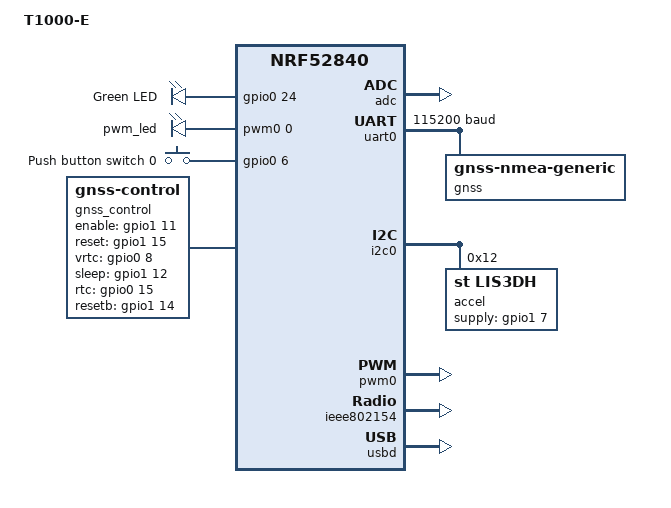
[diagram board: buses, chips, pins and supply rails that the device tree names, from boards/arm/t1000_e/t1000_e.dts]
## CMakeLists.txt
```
# SPDX-License-Identifier: Apache-2.0

cmake_minimum_required(VERSION 3.20.0)
find_package(Zephyr REQUIRED HINTS $ENV{ZEPHYR_BASE})
project(Blinky)


FILE(GLOB app_sources src/*.c)
target_sources(app PRIVATE ${app_sources})
```

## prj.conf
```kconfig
CONFIG_USB_CDC_ACM=y
CONFIG_CDC_ACM_DTE_RATE_CALLBACK_SUPPORT=y

# setup USB
CONFIG_USB_DEVICE_STACK=y
CONFIG_USB_DEVICE_PRODUCT="Blinky"
CONFIG_USB_DEVICE_PID=0x0004
CONFIG_USB_DEVICE_INITIALIZE_AT_BOOT=n


# setup console
CONFIG_SERIAL=y
CONFIG_CONSOLE=y
CONFIG_UART_CONSOLE=y
CONFIG_UART_LINE_CTRL=y

#setup gnss
CONFIG_GNSS=y
CONFIG_GNSS_SATELLITES=y


#logs
CONFIG_LOG=y
# CONFIG_LOG_BUFFER_SIZE=8192
# CONFIG_GNSS_DUMP_TO_LOG=y
# CONFIG_GNSS_DUMP_TO_LOG_BUF_SIZE=1024

# setup accelerometer
CONFIG_I2C=y
```

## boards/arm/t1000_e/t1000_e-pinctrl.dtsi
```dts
/*
 * Copyright (c) 2022 Nordic Semiconductor
 * SPDX-License-Identifier: Apache-2.0
 */

&pinctrl {
	uart0_default: uart0_default {
		group1 {
			psels = <NRF_PSEL(UART_TX, 0, 13)>;
		};
		group2 {
			psels = <NRF_PSEL(UART_RX, 0, 14)>;
			bias-pull-up;
		};
	};

	uart0_sleep: uart0_sleep {
		group1 {
			psels = <NRF_PSEL(UART_TX, 0, 13)>,
				<NRF_PSEL(UART_RX, 0, 14)>;
			low-power-enable;
		};
	};

	i2c0_default: i2c0_default {
		group1 {
			psels = <NRF_PSEL(TWIM_SDA, 0, 26)>,
				<NRF_PSEL(TWIM_SCL, 0, 27)>;
		};
	};

	i2c0_sleep: i2c0_sleep {
		group1 {
			psels = <NRF_PSEL(TWIM_SDA, 0, 26)>,
				<NRF_PSEL(TWIM_SCL, 0, 27)>;
			low-power-enable;
		};
	};


	pwm0_default: pwm0_default {
		group1 {
			psels = <NRF_PSEL(PWM_OUT0, 0, 24)>;
			nordic,invert;
		};
	};

	pwm0_sleep: pwm0_sleep {
		group1 {
			psels = <NRF_PSEL(PWM_OUT0, 0, 24)>;
			low-power-enable;
		};
	};
};
```

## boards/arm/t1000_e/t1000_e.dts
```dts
// Copyright (c) 2024 Nordic Semiconductor ASA
// SPDX-License-Identifier: Apache-2.0

/dts-v1/;
#include <nordic/nrf52840_qiaa.dtsi>
#include "t1000_e-pinctrl.dtsi"
#include <zephyr/dt-bindings/input/input-event-codes.h>

/ {
	model = "T1000-E";
	compatible = "seeed,t1000-e";

	chosen {
		zephyr,console = &cdc_acm_uart;
		zephyr,shell-uart = &cdc_acm_uart;
		zephyr,uart-mcumgr = &cdc_acm_uart;
		zephyr,bt-mon-uart = &cdc_acm_uart;
		zephyr,bt-c2h-uart = &cdc_acm_uart;
		zephyr,sram = &sram0;
		zephyr,flash = &flash0;
		zephyr,code-partition = &slot0_partition;
		zephyr,ieee802154 = &ieee802154;
	};

	leds {
		compatible = "gpio-leds";
		led_green: led {
			gpios = <&gpio0 24 GPIO_ACTIVE_HIGH>;
			label = "Green LED";
		};
	};


	pwmleds {
		compatible = "pwm-leds";
		pwm_led: pwm_led {
			pwms = <&pwm0 0 PWM_MSEC(20) PWM_POLARITY_INVERTED>;
		};
	};

	buttons {
		compatible = "gpio-keys";
		button0: button_0 {
			gpios = <&gpio0 6 (GPIO_ACTIVE_HIGH)>;
			label = "Push button switch 0";
			zephyr,code = <INPUT_KEY_0>;
		};
	};

	gnss_control: gnss_control {
		compatible = "gnss-control";
		status = "okay";
		enable-gpios = <&gpio1 11 GPIO_ACTIVE_HIGH>;
		reset-gpios = <&gpio1 15 GPIO_ACTIVE_HIGH>;
		vrtc-gpios = <&gpio0 8 GPIO_ACTIVE_HIGH>;
		sleep-gpios = <&gpio1 12 GPIO_ACTIVE_HIGH>;
		rtc-gpios = <&gpio0 15 GPIO_ACTIVE_HIGH>;
		resetb-gpios = <&gpio1 14 (GPIO_PULL_UP | GPIO_ACTIVE_HIGH)>;
	};

	aliases {
		sw0 = &button0;
		led0 = &led_green;
		pwm-led0 = &pwm_led;
		watchdog0 = &wdt0;
		gnss = &gnss;
	};
};


&adc {
	status = "okay";
};
	
&gpiote {
	status = "okay";
};
	
&uicr {
	nfct-pins-as-gpios;
	gpio-as-nreset;
};
	
&gpio0 {
	status = "okay";
};
	
&gpio1 {
	status = "okay";
};
	
&uart0 {
	status = "okay";
	current-speed = <115200>;
	pinctrl-0 = <&uart0_default>;
	pinctrl-1 = <&uart0_sleep>;
	pinctrl-names = "default", "sleep";

	gnss: AG3335 {
		compatible = "gnss-nmea-generic";
	};
};
	
&i2c0 {
	compatible = "nordic,nrf-twi";
	status = "okay";
	label = "i2c";
	pinctrl-0 = <&i2c0_default>;
	pinctrl-1 = <&i2c0_sleep>;
	pinctrl-names = "default", "sleep";

	qma6100p: qma6100p@12 {
		compatible = "st,lis3dh", "power";
		supply-gpios = <&gpio1 7 GPIO_ACTIVE_HIGH>;
		label = "accel";
		reg = <0x12>;
	};
};
	
&pwm0 {
	status = "okay";
	pinctrl-0 = <&pwm0_default>;
	pinctrl-1 = <&pwm0_sleep>;
	pinctrl-names = "default", "sleep";
};
	
	
&ieee802154 {
	status = "okay";
};
	
zephyr_udc0: &usbd {
	compatible = "nordic,nrf-usbd";
	status = "okay";
	
	cdc_acm_uart: cdc_acm_uart {
		compatible = "zephyr,cdc-acm-uart";
	};
};


&flash0 {

	partitions {
		compatible = "fixed-partitions";
		#address-cells = <1>;
		#size-cells = <1>;

		sd_partition: partition@0 {
			label = "softdevice";
			reg = <0x00000000 0x00027000>;
		};
		slot0_partition: partition@27000 {
			label = "image-0";
			reg = <0x00027000 0x00068000>;
		};

		/* Storage partition will be used by FCB/NFFS/NVS if enabled. */
		storage_partition: partition@e5000 {
			label = "storage";
			reg = <0x000e5000 0x00008000>;
		};
	};
};
```

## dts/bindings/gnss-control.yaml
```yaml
include: base.yaml

description: GPIO pins that control the gnss module
compatible: "gnss-control"
properties:
  enable-gpios:
    type: phandle-array
    required: true
    description: |
      The GPIO connected to gnss enable.
      
  reset-gpios:
    type: phandle-array
    required: true
    description: |
      The GPIO connected to gnss reset.

  vrtc-gpios:
    type: phandle-array
    required: true
    description: |
      The GPIO connected to gnss vrtc enable.

  sleep-gpios:
    type: phandle-array
    required: true
    description: |
      The GPIO connected to gnss sleep int.

  rtc-gpios:
    type: phandle-array
    required: true
    description: |
      The GPIO connected to gnss rtc int.

  resetb-gpios:
    type: phandle-array
    required: true
    description: |
      The GPIO connected to gnss resetb out.
```

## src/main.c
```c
/*
 * Copyright (c) 2016 Intel Corporation
 *
 * SPDX-License-Identifier: Apache-2.0
 */

#include <stdio.h>
#include <zephyr/logging/log.h>
#include <zephyr/kernel.h>

#include "usb.h"
#include "bootloader.h"
#include "led.h"
#include "gnss.h"
#include "button.h"
#include "accel.h"


/* 1000 msec = 1 sec */
#define SLEEP_TIME_MS   1000

#define LOG_LEVEL LOG_LEVEL_DBG
LOG_MODULE_REGISTER(main);

int main(void)
{
	bool led_state = true;

	if(led_init() == false)
	{
		LOG_ERR("Failed to initialise LED");
		return 1;
	}

	if(usb_init() == false)
	{
		LOG_ERR("Failed to initialise USB");
		return 1;
	}

	if(gnss_init() == false)
	{
		LOG_ERR("Failed to initialise GNSS");
		return 1;
	}

	if(button_init() == false)
	{
		LOG_ERR("Failed to initialise BUTTON");
		return 1;
	}

	if(accel_init() == false)
	{
		LOG_ERR("Failed to initialise ACC");
		return 1;
	}

	printk ("Running t1000-1 test app\n");

	accel_start_test();
	
	while (1) {
		
		led_state = !led_state;
		set_led(led_state);
		accel_print_data();
		print_latest_gnss();
		k_msleep(SLEEP_TIME_MS);
	}
	return 0;
}
```

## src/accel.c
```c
#include <zephyr/logging/log.h>
#include <zephyr/kernel.h>
#include <zephyr/device.h>
#include <zephyr/drivers/gpio.h>
#include <zephyr/drivers/i2c.h>
#include "accel.h"
#include "qma6100p_regs.h"

#define LOG_LEVEL LOG_LEVEL_DBG
LOG_MODULE_REGISTER(acc);

#define I2C_NODE DT_NODELABEL(qma6100p)
static const struct i2c_dt_spec dev_i2c = I2C_DT_SPEC_GET(I2C_NODE);
static const struct gpio_dt_spec qma6100p_enable = GPIO_DT_SPEC_GET(I2C_NODE, supply_gpios);


static int _range = -1;
static float xOffset = 0.0;
static float yOffset = 0.0;
static float zOffset = 0.0;


const float convRange2G = 0.000244F;
const float convRange4G = 0.000488F;
const float convRange8G = 0.000976F;
const float convRange16G = 0.001953F;
const float convRange32G = 0.003906F;



bool accel_init(void) {

    if (!gpio_is_ready_dt(&qma6100p_enable)) {

		LOG_ERR("Failed acc enable pin setup");
		return false;
	}

	int ret = gpio_pin_configure_dt(&qma6100p_enable, GPIO_OUTPUT_ACTIVE);

    if (ret < 0) {
		LOG_ERR("Failed to set acc enable pin as a output");
		return false;
	}

    ret = gpio_pin_set_dt(&qma6100p_enable, true);
    if (ret < 0) {
        LOG_ERR("Failed to enable acc");
	}
	k_msleep(50);

	if (!device_is_ready(dev_i2c.bus)) {
	printk("I2C bus %s is not ready!\n\r",dev_i2c.bus->name);
	return false;
	}

    return true;
}


uint8_t accel_get_unique_ID() {
	uint8_t data;
	int ret = i2c_burst_read_dt(&dev_i2c, SFE_QMA6100P_CHIP_ID,&data,1);
	if(ret != 0){
		return 0xFF;
	}
  return data;
}

bool accel_software_reset() {
	uint8_t data = 0xb6;
	int ret = i2c_burst_write_dt(&dev_i2c,SFE_QMA6100P_SR, &data, 1);
	if(ret != 0){
		printk("Failed to write to accel");
		return false;
	}
	sfe_qma6100p_sr_bitfeild_t sr;
	for (int i = 0; i < 10; i++) {
		ret = i2c_burst_read_dt(&dev_i2c, SFE_QMA6100P_SR,&sr.all,1);
		if(ret != 0){
			return false;
		}
		if (sr.all == 0xb6)
      	break;
    	k_msleep(1);
  	}

	ret = i2c_burst_write_dt(&dev_i2c,SFE_QMA6100P_SR, 0x00, 1);
	if(ret != 0){
		printk("Failed to write to accel");
		return false;
	}
  return true;
}

bool accel_enable(bool enable) {
  	uint8_t tempVal;

	int ret = i2c_burst_read_dt(&dev_i2c, SFE_QMA6100P_PM,&tempVal,1);
	if(ret != 0){
		return false;
	}

  	sfe_qma6100p_pm_bitfield_t pm;
  	pm.all = tempVal;
  	pm.bits.mode_bit = enable; // sets QMA6100P to active mode
  	tempVal = pm.all;

	ret = i2c_burst_write_dt(&dev_i2c,SFE_QMA6100P_PM, &tempVal, sizeof(tempVal));
	if(ret != 0){
		printk("Failed to write to accel");
		return false;
	}
  	return true;
}

uint8_t accel_get_operating_mode() {
	uint8_t data;

	int ret = i2c_burst_read_dt(&dev_i2c, SFE_QMA6100P_PM, &data, 1);
	if(ret != 0){
		return false;
	}

  sfe_qma6100p_pm_bitfield_t pm;
  pm.all = data; 

  return (pm.bits.mode_bit);
}

bool accel_set_range(uint8_t range) {
	uint8_t data;
	if (range > SFE_QMA6100P_RANGE32G) {
		return false;
	}
    
	// Read - Modify - Write
	int ret = i2c_burst_read_dt(&dev_i2c, SFE_QMA6100P_FSR, &data, 1);
	if(ret != 0){
		return false;
	}

  	sfe_qma6100p_fsr_bitfield_t fsr;
  	fsr.all = data;
  	fsr.bits.range = range; // This is a long winded but definitive way of setting
                          // the range (g select)
	data = fsr.all;

	ret = i2c_burst_write_dt(&dev_i2c,SFE_QMA6100P_FSR, &data, sizeof(data));
	if(ret != 0){
		printk("Failed to write range to accel");
		return false;
	}
	
	_range = range; // Update our local copy
	return true;
}


uint8_t accel_get_range() {
	uint8_t data;
	uint8_t range;

	int ret = i2c_burst_read_dt(&dev_i2c, SFE_QMA6100P_FSR, &data, 1);
	if(ret != 0){
		return false;
	}
  	sfe_qma6100p_fsr_bitfield_t fsr;
  	fsr.all = data;
  	range = fsr.bits.range;

  	return range;
}

bool accel_enable_data_engine(bool enable) {
  	uint8_t data;

	int ret = i2c_burst_read_dt(&dev_i2c, SFE_QMA6100P_PM, &data, 1);
	if(ret != 0){
		return false;
	}

  	sfe_qma6100p_int_map1_bitfield_t int_map1;
  	int_map1.all = data;
  	int_map1.bits.int1_data = enable; // data ready interrupt to INT1
  	data = int_map1.all;


	ret = i2c_burst_write_dt(&dev_i2c,SFE_QMA6100P_INT_MAP1, &data, sizeof(data));
	if(ret != 0){
		printk("Failed to write INT setup to accel");
		return false;
	}

	// enable data ready interrupt
	ret = i2c_burst_read_dt(&dev_i2c, SFE_QMA6100P_INT_EN1, &data, 1);
	if(ret != 0){
		return false;
	}

  	sfe_qma6100p_int_en1_bitfield_t int_en1;
  	int_en1.all = data;
  	int_en1.bits.int_data_en = enable; // set data ready interrupt
  	data = int_en1.all;

	ret = i2c_burst_write_dt(&dev_i2c,SFE_QMA6100P_INT_EN1, &data, sizeof(data));
	if(ret != 0){
		printk("Failed to write INT enable to accel");
		return false;
	}

  	return true;
}

bool accel_set_fifo_mode(uint8_t fifo_mode) {
  	uint8_t data;

  	int ret = i2c_burst_read_dt(&dev_i2c, SFE_QMA6100P_FIFO_CFG0, &data, 1);
	if(ret != 0){
		return false;
	}

  	sfe_qma6100p_fifo_cfg0_bitfield_t fifo_cfg0;
  	fifo_cfg0.all = data;
  	fifo_cfg0.bits.fifo_mode = fifo_mode; // data ready interrupt to INT1
  	fifo_cfg0.bits.fifo_en_xyz = 0b111;
  	data = fifo_cfg0.all;

	ret = i2c_burst_write_dt(&dev_i2c,SFE_QMA6100P_FIFO_CFG0, &data, sizeof(data));
	if(ret != 0){
		printk("Failed to write fifo mode to accel");
		return false;
	}

  	return true;
}


bool accel_get_raw_accel_register_data(rawOutputData *rawAccelData) {
  	uint8_t regData[6] = {0};
  	int16_t data = 0;

	int ret = i2c_burst_read_dt(&dev_i2c, SFE_QMA6100P_DX_L, regData, 6);
	if(ret != 0){
		return false;
	}

  	// check newData_X
  	if (regData[0] & 0x1) {
    	data = (int16_t)(((uint16_t)(regData[1] << 8)) | (regData[0]));
    	rawAccelData->xData = data >> 2;
  	}
  	// check newData_Y
  	if (regData[2] & 0x1) {
    	data = (int16_t)(((uint16_t)(regData[3] << 8)) | (regData[2]));
    	rawAccelData->yData = data >> 2;
  	}
  	// check newData_Z
  	if (regData[4] & 0x1) {
    	data = (int16_t)(((uint16_t)(regData[5] << 8)) | (regData[4]));
    rawAccelData->zData = data >> 2;
  }

  return true;
}


bool accel_calibrate_offsets() {
  	outputData data;
  	int numSamples = 100;
  	float xSum = 0.0, ySum = 0.0, zSum = 0.0;

  	// Take multiple samples to average out noise
  	for (int i = 0; i < numSamples; i++) {
    if (!accel_get_data(&data)){
		return false;
	}
    xSum += data.xData;
    ySum += data.yData;
    zSum += data.zData - 1;
    k_msleep(10);
  }

  	// Calculate average
  	xOffset = xSum / numSamples;
  	yOffset = ySum / numSamples;
  	zOffset = zSum / numSamples; // Assuming z-axis aligned with gravity

  	return true;
}


bool accel_get_data(outputData *userData) {
	rawOutputData rawAccelData;
  	if (!accel_get_raw_accel_register_data(&rawAccelData)) {
		return false;
	}

  	if (!accel_conv_data(userData, &rawAccelData)) {
		return false;
	}

  	return true;
}


bool accel_conv_data(outputData *userAccel, rawOutputData *rawAccelData) {
  	if (_range < 0) // If the G-range is unknown, read it
  	{
    	uint8_t regVal;

		int ret = i2c_burst_read_dt(&dev_i2c, SFE_QMA6100P_FSR, &regVal, 1);
		if(ret != 0){
			return false;
		}

    	sfe_qma6100p_fsr_bitfield_t fsr;
    	fsr.all = regVal;

    	_range = fsr.bits.range; // Record the range
  	}

  	switch (_range) {
  	case SFE_QMA6100P_RANGE2G:
   		userAccel->xData = (float)rawAccelData->xData * convRange2G;
    	userAccel->yData = (float)rawAccelData->yData * convRange2G;
    	userAccel->zData = (float)rawAccelData->zData * convRange2G;
    	break;
  	case SFE_QMA6100P_RANGE4G:
    	userAccel->xData = (float)rawAccelData->xData * convRange4G;
    	userAccel->yData = (float)rawAccelData->yData * convRange4G;
    	userAccel->zData = (float)rawAccelData->zData * convRange4G;
    	break;
  	case SFE_QMA6100P_RANGE8G:
    	userAccel->xData = (float)rawAccelData->xData * convRange8G;
    	userAccel->yData = (float)rawAccelData->yData * convRange8G;
    	userAccel->zData = (float)rawAccelData->zData * convRange8G;
    	break;
  	case SFE_QMA6100P_RANGE16G:
    	userAccel->xData = (float)rawAccelData->xData * convRange16G;
    	userAccel->yData = (float)rawAccelData->yData * convRange16G;
    	userAccel->zData = (float)rawAccelData->zData * convRange16G;
    	break;
  	case SFE_QMA6100P_RANGE32G:
    	userAccel->xData = (float)rawAccelData->xData * convRange32G;
    	userAccel->yData = (float)rawAccelData->yData * convRange32G;
    	userAccel->zData = (float)rawAccelData->zData * convRange32G;
    	break;
  	default:
    	return false;
  	}

  	return true;
}

void accel_set_offset(float x, float y, float z) {
  xOffset = x;
  yOffset = y;
  zOffset = z;
}

void accel_offset_values(float *x, float *y, float *z) {
  *x = *x - xOffset;
  *y = *y - yOffset;
  *z = *z - zOffset;
}


void accel_start_test(void) {

	if (!accel_software_reset()) {
		printk("failed reset accel");
	}

	k_msleep(5);


	if(!accel_set_range(SFE_QMA6100P_RANGE32G)){   
    	printk("failed set range of accel");
  	}

	if(!accel_enable(true)){
    	printk("failed to enable the accel");
 	} 

}

void accel_print_data(void) {
	rawOutputData data;

	if (!accel_get_raw_accel_register_data(&data)) {
		printk("failed to get data for accel");
	}
	printk("Accel: X: %i,Y: %i,Z: %i\n", (int) data.xData, (int) data.yData, (int) data.zData);

}
```

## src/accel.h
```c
#pragma once
#include <stdbool.h>

//#define QMA_6100P_INT_PIN (32 + 2) // P1.02 from meshtastic


#define QMA6100P_CHIP_ID 0x90

#define SFE_QMA6100P_RANGE2G 0b0001
#define SFE_QMA6100P_RANGE4G 0b0010
#define SFE_QMA6100P_RANGE8G 0b0100
#define SFE_QMA6100P_RANGE16G 0b1000
#define SFE_QMA6100P_RANGE32G 0b1111

#define SFE_QMA6100P_FIFO_MODE_BYPASS 0b00
#define SFE_QMA6100P_FIFO_MODE_FIFO 0b01
#define SFE_QMA6100P_FIFO_MODE_STREAM 0b10
#define SFE_QMA6100P_FIFO_MODE_AUX 0b11

#define SENSORS_GRAVITY_EARTH (9.80665F)

typedef struct {
  float xData;
  float yData;
  float zData;
} outputData;


typedef struct {
  int16_t xData;
  int16_t yData;
  int16_t zData;
} rawOutputData;

bool accel_init(void);
uint8_t accel_get_unique_ID();
bool accel_software_reset();
bool accel_enable(bool enable);
uint8_t accel_get_operating_mode();
bool accel_set_range(uint8_t range);
uint8_t accel_get_range();
bool accel_enable_data_engine(bool enable);
bool accel_set_fifo_mode(uint8_t fifo_mode);
bool accel_get_raw_accel_register_data(rawOutputData *rawAccelData);
bool accel_calibrate_offsets();
bool accel_get_data(outputData *userData);
bool accel_conv_data(outputData *userAccel, rawOutputData *rawAccelData);
void accel_offset_values(float *x, float *y, float *z);
void accel_set_offset(float x, float y, float z);

void accel_start_test(void);
void accel_print_data(void);
```

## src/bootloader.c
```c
#include <zephyr/kernel.h>

void reset_to_bootloader() {
	printk ("returning bootloader\n");
	NRF_POWER->GPREGRET = 0x57; // 0xA8 OTA, 0x4e Serial
	NVIC_SystemReset();
}
```

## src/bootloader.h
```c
#pragma once
#include <stdbool.h>


void reset_to_bootloader();
```

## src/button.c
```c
#include <zephyr/logging/log.h>
#include <zephyr/drivers/gpio.h>
#include <zephyr/kernel.h>
#include "button.h"
#include "bootloader.h"

#define LOG_LEVEL LOG_LEVEL_DBG
LOG_MODULE_REGISTER(button);


#define BUTTON_NODE DT_ALIAS(sw0)
static const struct gpio_dt_spec button = GPIO_DT_SPEC_GET_OR(BUTTON_NODE, gpios, {0});


static struct gpio_callback button_cb_data;
static uint64_t press_start_time;
static const uint64_t LONG_PRESS_DURATION_MS = 2000;
static bool is_button_pressed = false;

void short_press_action(void) {
    LOG_INF("Short press detected.");
    // Add your short press handling code here
}

void long_press_action(void) {
    LOG_INF("Long press detected.");
    reset_to_bootloader();
}

void button_callback(const struct device *dev, struct gpio_callback *cb, uint32_t pins) {
    uint64_t current_time = k_uptime_get();

    if (!is_button_pressed) {
        // Button was just pressed
        press_start_time = current_time;
        is_button_pressed = true;
    } else {
        // Button was just released
        uint64_t press_duration = current_time - press_start_time;
        
        if (press_duration >= LONG_PRESS_DURATION_MS) {
            long_press_action();
        } else {
            short_press_action();
        }

        is_button_pressed = false;
    }
}


bool button_init (void){

	if (!gpio_is_ready_dt(&button)) {
		LOG_ERR("Button device is not ready");
		return false;
	}

	int ret = gpio_pin_configure_dt(&button, GPIO_INPUT);
	if (ret != 0) {
		LOG_ERR("Failed to configure button pin");
		return false;
	}

	ret = gpio_pin_interrupt_configure_dt(&button, GPIO_INT_EDGE_BOTH);
	if (ret != 0) {
		LOG_ERR("Failed to configure button interrupt");
		return false;
	}

    // Initialize the callback for both press and release events
    gpio_init_callback(&button_cb_data, button_callback, BIT(button.pin));
    gpio_add_callback(button.port, &button_cb_data);


    return true;
}
```

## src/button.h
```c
#pragma once
#include <stdbool.h>

bool button_init (void);
```

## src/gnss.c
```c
#include <zephyr/logging/log.h>
#include <zephyr/drivers/gpio.h>
#include <zephyr/kernel.h>
#include <zephyr/device.h>
#include <zephyr/drivers/gnss.h>
#include "gnss.h"


#define LOG_LEVEL LOG_LEVEL_DBG
LOG_MODULE_REGISTER(gnss, CONFIG_GNSS_LOG_LEVEL);

#define GNSS_MODEM DEVICE_DT_GET(DT_ALIAS(gnss))


#define GNSS_PINS DT_NODELABEL(gnss_control)
static const struct gpio_dt_spec gnss_enable = GPIO_DT_SPEC_GET(GNSS_PINS, enable_gpios);
static const struct gpio_dt_spec gnss_reset = GPIO_DT_SPEC_GET(GNSS_PINS, reset_gpios);
static const struct gpio_dt_spec gnss_vrtc = GPIO_DT_SPEC_GET(GNSS_PINS, vrtc_gpios);
static const struct gpio_dt_spec gnss_sleep = GPIO_DT_SPEC_GET(GNSS_PINS, sleep_gpios);
static const struct gpio_dt_spec gnss_rtc = GPIO_DT_SPEC_GET(GNSS_PINS, rtc_gpios);
static const struct gpio_dt_spec gnss_resetb = GPIO_DT_SPEC_GET(GNSS_PINS, resetb_gpios);


struct gnss_data latest_gnss_data;
struct gnss_satellite latest_satellite_data;



bool gnss_init() {

    if (!gpio_is_ready_dt(&gnss_enable) & 
	!gpio_is_ready_dt(&gnss_reset) & 
	!gpio_is_ready_dt(&gnss_vrtc) & 
	!gpio_is_ready_dt(&gnss_sleep) & 
	!gpio_is_ready_dt(&gnss_rtc)) {

		LOG_ERR("Failed gnss pin setup");
		return false;
	}

	int ret = gpio_pin_configure_dt(&gnss_enable, GPIO_OUTPUT_ACTIVE);
	ret = gpio_pin_configure_dt(&gnss_reset, GPIO_OUTPUT_ACTIVE);
	ret = gpio_pin_configure_dt(&gnss_vrtc, GPIO_OUTPUT_ACTIVE);
	ret = gpio_pin_configure_dt(&gnss_sleep, GPIO_OUTPUT_ACTIVE);
	ret = gpio_pin_configure_dt(&gnss_rtc, GPIO_OUTPUT_ACTIVE);

	if (ret < 0) {
		LOG_ERR("Failed to set gnss  pin as a output");
		return false;
	}
	
	ret = gpio_pin_set_dt(&gnss_vrtc, true);
	k_msleep(10);
	ret = gpio_pin_set_dt(&gnss_sleep, true);
	k_msleep(10);
	ret = gpio_pin_set_dt(&gnss_reset, false);
	k_msleep(10);
	ret = gpio_pin_set_dt(&gnss_rtc, false);
	k_msleep(10);
	ret = gpio_pin_set_dt(&gnss_enable, true);
	if (ret < 0) {
        LOG_ERR("Failed to change gnss pins");
	}

    return true;
}



static void gnss_data_cb(const struct device *dev, const struct gnss_data *data)
{
	latest_gnss_data = *data;

	// if (data->info.fix_status != GNSS_FIX_STATUS_NO_FIX) {
	// 	printk("Got a fix!\n");
	// }
}

GNSS_DATA_CALLBACK_DEFINE(GNSS_MODEM, gnss_data_cb);


static void gnss_satellites_cb(const struct device *dev, const struct gnss_satellite *satellites,
			       uint16_t size)
{
	latest_satellite_data = *satellites;
	printk("%u satellites reported\n", size);
}

GNSS_SATELLITES_CALLBACK_DEFINE(GNSS_MODEM, gnss_satellites_cb);


void print_latest_gnss(void) {
	
	printk("location (%lld, %lld) with %d tracked satellites\n", 
				latest_gnss_data.nav_data.latitude, latest_gnss_data.nav_data.longitude, latest_gnss_data.info.satellites_cnt);

	printk("date: %02d:%02d:%02d:%03d %02d-%02d-%04d\n", 
				latest_gnss_data.utc.hour, latest_gnss_data.utc.minute, latest_gnss_data.utc.millisecond/1000, latest_gnss_data.utc.millisecond%1000, 
				latest_gnss_data.utc.month_day, latest_gnss_data.utc.month, latest_gnss_data.utc.century_year + 2000);

}
```

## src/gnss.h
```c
#pragma once
#include <stdbool.h>




bool gnss_init();
void print_latest_gnss(void);
```

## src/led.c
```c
#include <zephyr/logging/log.h>
#include <zephyr/drivers/gpio.h>
#include "led.h"

#define LOG_LEVEL LOG_LEVEL_DBG
LOG_MODULE_REGISTER(led);


#define LED0_NODE DT_ALIAS(led0)
static const struct gpio_dt_spec led = GPIO_DT_SPEC_GET(LED0_NODE, gpios);

bool led_init (void){

    	if (!gpio_is_ready_dt(&led)) {
		LOG_ERR("Failed to set LED pin");
		return false;
	}

	int ret = gpio_pin_configure_dt(&led, GPIO_OUTPUT_ACTIVE);
	if (ret < 0) {
		LOG_ERR("Failed to set LED pin as a output");
		return false;
	}
    return true;
}

void set_led(bool state) {
    int ret = gpio_pin_set_dt(&led, state);
	if (ret < 0) {
        LOG_ERR("Failed to change LED state");
	}
}
```

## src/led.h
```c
#pragma once
#include <stdbool.h>

bool led_init (void);

void set_led(bool state);
```

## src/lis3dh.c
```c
#include <zephyr/logging/log.h>
#include <zephyr/kernel.h>
#include <zephyr/device.h>
#include <zephyr/drivers/gpio.h>
#include <zephyr/drivers/sensor.h>
#include <zephyr/drivers/i2c.h>
#include "lis3dh.h"

#define LOG_LEVEL LOG_LEVEL_DBG
LOG_MODULE_REGISTER(acc);

#define ACC_NODE DT_NODELABEL(lis3dh)
const struct device *const sensor = DEVICE_DT_GET_ANY(lis3dh);
static const struct gpio_dt_spec acc_enable = GPIO_DT_SPEC_GET(ACC_NODE, supply_gpios);


#define I2C_NODE DT_ALIAS(my_i2c)
#define I2C_DEV	DT_PROP(I2C_NODE, label)






bool acc_init(void) {

    if (!gpio_is_ready_dt(&acc_enable)) {

		LOG_ERR("Failed acc enable pin setup");
		return false;
	}

	int ret = gpio_pin_configure_dt(&acc_enable, GPIO_OUTPUT_ACTIVE);

    if (ret < 0) {
		LOG_ERR("Failed to set acc enable pin as a output");
		return false;
	}

    ret = gpio_pin_set_dt(&acc_enable, true);
    if (ret < 0) {
        LOG_ERR("Failed to enable acc");
	}
	k_msleep(50);

    if (sensor == NULL) {
        LOG_ERR("No device found");
		return false;
	}

	if (!device_is_ready(sensor)) {
        LOG_ERR("Acc is not ready");
		return false;
	}
    return true;
}

void acc_fetch_display(void) {
	static unsigned int count;
	struct sensor_value accel[3];
	const char *overrun = "";
	int rc = sensor_sample_fetch(sensor);

	++count;
	if (rc == -EBADMSG) {
		/* Sample overrun.  Ignore in polled mode. */
		rc = 0;
	}
	if (rc == 0) {
		rc = sensor_channel_get(sensor,
					SENSOR_CHAN_ACCEL_XYZ,
					accel);
	}
	if (rc < 0) {
		printk("ERROR: Update failed: %d\n", rc);
	} else {
		printk("#%u @ %u ms: %sx %f , y %f , z %f",
		       count, k_uptime_get_32(), overrun,
		       sensor_value_to_double(&accel[0]),
		       sensor_value_to_double(&accel[1]),
		       sensor_value_to_double(&accel[2]));
	}
	printk("\n");
}

void i2c_scan(void) {
	const struct device *i2c_dev;

	k_sleep(K_SECONDS(1));
	printk("*** I2C scanner started.                    ***\nBoard name      : %s\n", CONFIG_BOARD);

	i2c_dev = device_get_binding(I2C_DEV);
		if (!i2c_dev) {
		printk("I2C: Device driver not found.\n");
		return;
	}

	printk("I2C Port        : %s \n",I2C_DEV);
	printk("Clock Frequency : %d \n",DT_PROP(I2C_NODE, clock_frequency));

	printk("\n    | 0x00 0x01 0x02 0x03 0x04 0x05 0x06 0x07 0x08 0x09 0x0a 0x0b 0x0c 0x0d 0x0e 0x0f |\n");
	printk(  "----|---------------------------------------------------------------------------------");
	
	uint8_t error = 0u;
	uint8_t dst;
	uint8_t i2c_dev_cnt = 0;
	struct i2c_msg msgs[1];
	msgs[0].buf = &dst;
	msgs[0].len = 1U;
	msgs[0].flags = I2C_MSG_WRITE | I2C_MSG_STOP;

	/* Use the full range of I2C address for display purpose */	
	for (uint16_t x = 0; x <= 0x7f; x++) {
		/* New line every 0x10 address */
		if (x % 0x10 == 0) {
			printk("|\n0x%02x| ",x);	
		}
		/* Range the test with the start and stop value configured in the kconfig */
		if (x >= 0 && x <= 255)	{	
			/* Send the address to read from */
			error = i2c_transfer(i2c_dev, &msgs[0], 1, x);
				/* I2C device found on current address */
				if (error == 0) {
					printk("0x%02x ",x);
					i2c_dev_cnt++;
				}
				else {
					printk(" --  ");
				}
		} else {
			/* Scan value out of range, not scanned */
			printk("     ");
		}
	}
	printk("|\n");
	printk("\nI2C device(s) found on the bus: %d\nScanning done.\n\n", i2c_dev_cnt);
	printk("Find the registered I2C address on: https://i2cdevices.org/addresses\n\n");
}
```

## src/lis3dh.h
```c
#pragma once
#include <stdbool.h>

bool acc_init(void);
void acc_fetch_display(void);
void i2c_scan(void);
```
